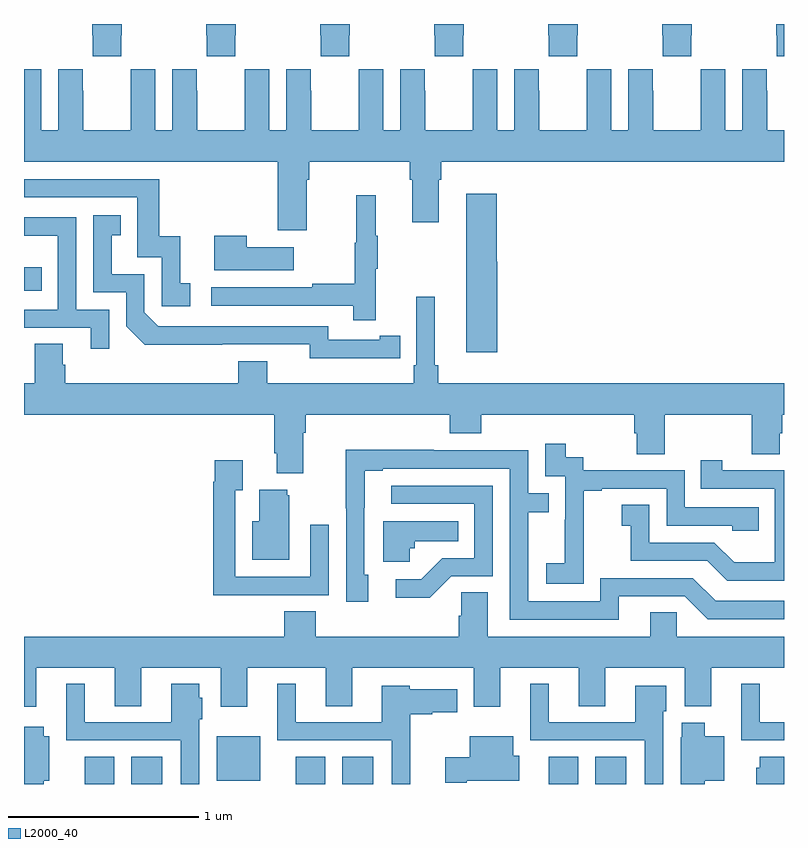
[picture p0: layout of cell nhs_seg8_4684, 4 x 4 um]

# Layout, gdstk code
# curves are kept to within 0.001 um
import gdstk
lib = gdstk.Library(unit=1e-6, precision=1e-09)
def R(c, l, rs):  # rectangles x0, y0, x1, y1
    for r in rs: c.add(gdstk.rectangle(r[:2], r[2:], *l))
def P(c, l, *ps):  # polygons
    for p in ps: c.add(gdstk.Polygon(p, *l))
L2000_40 = (2000, 40)

nhs_seg8_4684 = lib.new_cell('nhs_seg8_4684')
R(nhs_seg8_4684, L2000_40, [(395.321,1103.9,395.476,1104.044), (395.564,1103.9,395.728,1104.044), (396.431,1103.9,396.586,1104.044), (396.674,1103.9,396.838,1104.044), (397.763,1103.9,397.918,1104.044), (398.006,1103.9,398.17,1104.044), (396.014,1103.918,396.244,1104.151), (395,1106.496,395.093,1106.619)])
P(nhs_seg8_4684, L2000_40, [(396.111,1107.841),(396.114,1107.841),(396.114,1107.9),(395.959,1107.9),(395.959,1107.841),(395.961,1107.841),(395.961,1107.729),(396.111,1107.729)],
  [(396.711,1107.841),(396.714,1107.841),(396.714,1107.9),(396.559,1107.9),(396.559,1107.841),(396.561,1107.841),(396.561,1107.729),(396.711,1107.729)],
  [(397.311,1107.841),(397.314,1107.841),(397.314,1107.9),(397.159,1107.9),(397.159,1107.841),(397.161,1107.841),(397.161,1107.729),(397.311,1107.729)],
  [(397.911,1107.841),(397.914,1107.841),(397.914,1107.9),(397.759,1107.9),(397.759,1107.841),(397.761,1107.841),(397.761,1107.729),(397.911,1107.729)],
  [(398.511,1107.841),(398.514,1107.841),(398.514,1107.9),(398.359,1107.9),(398.359,1107.841),(398.361,1107.841),(398.361,1107.729),(398.511,1107.729)],
  [(399,1107.9),(398.959,1107.9),(398.959,1107.841),(398.961,1107.841),(398.961,1107.729),(399,1107.729)],
  [(395.511,1107.841),(395.514,1107.841),(395.514,1107.9),(395.359,1107.9),(395.359,1107.841),(395.361,1107.841),(395.361,1107.729),(395.511,1107.729)],
  [(396.98,1107.661),(396.98,1107.34),(396.892,1107.34),(396.892,1107.661),(396.762,1107.661),(396.762,1107.548),(396.761,1107.548),(396.761,1107.34),(396.511,1107.34),(396.511,1107.548),(396.51,1107.548),(396.51,1107.661),(396.38,1107.661),(396.38,1107.34),(396.292,1107.34),(396.292,1107.661),(396.162,1107.661),(396.162,1107.548),(396.161,1107.548),(396.161,1107.34),(395.911,1107.34),(395.911,1107.548),(395.91,1107.548),(395.91,1107.661),(395.78,1107.661),(395.78,1107.34),(395.692,1107.34),(395.692,1107.661),(395.562,1107.661),(395.562,1107.548),(395.561,1107.548),(395.561,1107.34),(395.311,1107.34),(395.311,1107.548),(395.31,1107.548),(395.31,1107.661),(395.18,1107.661),(395.18,1107.34),(395.092,1107.34),(395.092,1107.661),(395,1107.661),(395,1107.176),(396.335,1107.176),(396.335,1106.814),(396.487,1106.814),(396.487,1107.08),(396.5,1107.08),(396.5,1107.176),(397.031,1107.176),(397.031,1107.08),(397.043,1107.08),(397.043,1106.856),(397.183,1106.856),(397.183,1107.08),(397.196,1107.08),(397.196,1107.176),(399,1107.176),(399,1107.34),(398.911,1107.34),(398.911,1107.548),(398.91,1107.548),(398.91,1107.661),(398.78,1107.661),(398.78,1107.34),(398.692,1107.34),(398.692,1107.661),(398.562,1107.661),(398.562,1107.548),(398.561,1107.548),(398.561,1107.34),(398.311,1107.34),(398.311,1107.548),(398.31,1107.548),(398.31,1107.661),(398.18,1107.661),(398.18,1107.34),(398.092,1107.34),(398.092,1107.661),(397.962,1107.661),(397.962,1107.548),(397.961,1107.548),(397.961,1107.34),(397.711,1107.34),(397.711,1107.548),(397.71,1107.548),(397.71,1107.661),(397.58,1107.661),(397.58,1107.34),(397.492,1107.34),(397.492,1107.661),(397.362,1107.661),(397.362,1107.548),(397.361,1107.548),(397.361,1107.34),(397.111,1107.34),(397.111,1107.548),(397.11,1107.548),(397.11,1107.661)],
  [(395.875,1106.535),(395.822,1106.535),(395.822,1106.782),(395.711,1106.782),(395.711,1107.084),(395,1107.084),(395,1106.988),(395.595,1106.988),(395.595,1106.673),(395.724,1106.673),(395.724,1106.415),(395.875,1106.415)],
  [(397.492,1106.649),(397.487,1106.649),(397.487,1107.007),(397.328,1107.007),(397.328,1106.172),(397.492,1106.172)],
  [(396.851,1106.611),(396.862,1106.611),(396.862,1106.785),(396.851,1106.785),(396.851,1106.998),(396.748,1106.998),(396.748,1106.748),(396.741,1106.748),(396.741,1106.534),(396.517,1106.534),(396.517,1106.514),(395.985,1106.514),(395.985,1106.418),(396.733,1106.418),(396.733,1106.34),(396.851,1106.34)],
  [(396.872,1106.142),(396.98,1106.142),(396.98,1106.258),(396.872,1106.258),(396.872,1106.238),(396.6,1106.238),(396.6,1106.31),(395.706,1106.31),(395.634,1106.382),(395.634,1106.583),(395.461,1106.583),(395.461,1106.787),(395.51,1106.787),(395.51,1106.893),(395.364,1106.893),(395.364,1106.487),(395.538,1106.487),(395.538,1106.31),(395.636,1106.213),(396.504,1106.214),(396.504,1106.141)],
  [(395.448,1106.397),(395.274,1106.397),(395.274,1106.883),(395,1106.883),(395,1106.786),(395.178,1106.786),(395.178,1106.397),(395,1106.397),(395,1106.301),(395.351,1106.301),(395.351,1106.19),(395.448,1106.19)],
  [(396.421,1106.725),(396.173,1106.725),(396.173,1106.785),(396.002,1106.785),(396.002,1106.603),(396.421,1106.603)],
  [(396.469,1105.748),(396.482,1105.748),(396.482,1105.844),(397.241,1105.844),(397.241,1105.745),(397.406,1105.745),(397.406,1105.844),(398.213,1105.844),(398.213,1105.746),(398.225,1105.746),(398.225,1105.636),(398.373,1105.636),(398.373,1105.844),(398.83,1105.844),(398.83,1105.636),(398.977,1105.636),(398.977,1105.746),(398.99,1105.746),(398.99,1105.844),(399,1105.844),(399,1106.008),(397.181,1106.008),(397.181,1106.104),(397.162,1106.104),(397.162,1106.464),(397.065,1106.464),(397.065,1106.104),(397.052,1106.104),(397.052,1106.008),(396.28,1106.008),(396.28,1106.125),(396.128,1106.125),(396.128,1106.008),(395.216,1106.008),(395.216,1106.106),(395.203,1106.106),(395.203,1106.216),(395.056,1106.216),(395.056,1106.008),(395,1106.008),(395,1105.844),(396.317,1105.844),(396.317,1105.642),(396.329,1105.642),(396.329,1105.535),(396.469,1105.535)],
  [(397.947,1105.159),(397.946,1105.159),(397.946,1105.443),(398.041,1105.443),(398.041,1105.455),(398.382,1105.455),(398.382,1105.26),(398.727,1105.26),(398.727,1105.233),(398.867,1105.233),(398.867,1105.356),(398.478,1105.356),(398.478,1105.551),(397.944,1105.551),(397.944,1105.62),(397.852,1105.62),(397.852,1105.69),(397.743,1105.69),(397.743,1105.521),(397.848,1105.521),(397.848,1105.292),(397.847,1105.292),(397.847,1105.063),(397.749,1105.063),(397.749,1104.953),(397.947,1104.953)],
  [(398.131,1104.888),(398.478,1104.888),(398.598,1104.768),(399,1104.768),(399,1104.864),(398.64,1104.864),(398.52,1104.984),(398.034,1104.984),(398.034,1104.861),(397.653,1104.861),(397.653,1105.33),(397.763,1105.33),(397.763,1105.431),(397.653,1105.431),(397.653,1105.656),(397.157,1105.656),(397.157,1105.658),(396.694,1105.658),(396.694,1105.351),(396.696,1105.351),(396.696,1104.858),(396.811,1104.858),(396.811,1105.002),(396.792,1105.002),(396.793,1105.548),(396.889,1105.548),(396.889,1105.56),(397.557,1105.56),(397.557,1104.765),(398.131,1104.765)],
  [(396.287,1104.894),(396.603,1104.894),(396.603,1105.264),(396.507,1105.264),(396.507,1104.99),(396.111,1104.99),(396.111,1105.447),(396.151,1105.447),(396.151,1105.603),(396.003,1105.603),(396.003,1105.49),(395.995,1105.49),(395.995,1104.893),(396.287,1104.893)],
  [(399,1105.551),(398.674,1105.551),(398.674,1105.603),(398.563,1105.603),(398.563,1105.455),(398.952,1105.455),(398.952,1105.066),(398.738,1105.066),(398.634,1105.17),(398.292,1105.17),(398.292,1105.369),(398.145,1105.369),(398.145,1105.259),(398.194,1105.259),(398.194,1105.074),(398.597,1105.074),(398.702,1104.969),(399,1104.969)],
  [(397.248,1104.993),(397.467,1104.993),(397.467,1105.47),(396.933,1105.47),(396.933,1105.374),(397.371,1105.374),(397.371,1105.089),(397.202,1105.089),(397.091,1104.978),(396.957,1104.978),(396.957,1104.881),(397.135,1104.881)],
  [(396.397,1105.419),(396.386,1105.419),(396.386,1105.45),(396.239,1105.45),(396.239,1105.282),(396.2,1105.282),(396.2,1105.079),(396.397,1105.079)],
  [(397.029,1105.14),(397.056,1105.14),(397.056,1105.178),(397.286,1105.178),(397.286,1105.282),(396.89,1105.282),(396.89,1105.07),(397.029,1105.07)],
  [(395,1104.306),(395.065,1104.306),(395.065,1104.512),(395.477,1104.512),(395.477,1104.31),(395.617,1104.31),(395.617,1104.512),(396.035,1104.512),(396.035,1104.306),(396.175,1104.306),(396.175,1104.512),(396.587,1104.512),(396.587,1104.31),(396.727,1104.31),(396.727,1104.512),(397.367,1104.512),(397.367,1104.306),(397.507,1104.306),(397.507,1104.512),(397.919,1104.512),(397.919,1104.31),(398.059,1104.31),(398.059,1104.512),(398.477,1104.512),(398.477,1104.308),(398.617,1104.308),(398.617,1104.512),(399,1104.512),(399,1104.676),(398.436,1104.676),(398.436,1104.803),(398.297,1104.803),(398.297,1104.676),(397.441,1104.676),(397.441,1104.908),(397.302,1104.908),(397.302,1104.785),(397.289,1104.785),(397.289,1104.676),(396.536,1104.676),(396.536,1104.809),(396.371,1104.809),(396.371,1104.676),(395,1104.676)],
  [(398.364,1104.282),(398.38,1104.282),(398.38,1104.418),(398.216,1104.418),(398.216,1104.225),(397.762,1104.225),(397.762,1104.427),(397.664,1104.427),(397.664,1104.129),(398.268,1104.129),(398.268,1103.9),(398.364,1103.9)],
  [(397.034,1104.266),(397.148,1104.266),(397.148,1104.278),(397.279,1104.278),(397.279,1104.4),(397.029,1104.4),(397.029,1104.418),(396.884,1104.418),(396.884,1104.225),(396.43,1104.225),(396.43,1104.427),(396.332,1104.427),(396.332,1104.129),(396.936,1104.129),(396.936,1103.9),(397.034,1103.9)],
  [(395.922,1104.24),(395.938,1104.24),(395.938,1104.354),(395.923,1104.354),(395.923,1104.427),(395.774,1104.427),(395.774,1104.225),(395.32,1104.225),(395.32,1104.427),(395.222,1104.427),(395.222,1104.129),(395.826,1104.129),(395.826,1103.9),(395.922,1103.9)],
  [(399,1104.225),(398.872,1104.225),(398.872,1104.427),(398.774,1104.427),(398.774,1104.129),(399,1104.129)],
  [(398.584,1103.918),(398.686,1103.918),(398.686,1104.151),(398.584,1104.151),(398.584,1104.223),(398.462,1104.223),(398.462,1104.147),(398.456,1104.147),(398.456,1103.9),(398.584,1103.9)],
  [(395.104,1103.918),(395.134,1103.918),(395.134,1104.151),(395.104,1104.151),(395.104,1104.202),(395,1104.202),(395,1103.9),(395.104,1103.9)],
  [(397.33,1103.918),(397.606,1103.918),(397.606,1104.048),(397.576,1104.048),(397.576,1104.151),(397.346,1104.151),(397.346,1104.04),(397.218,1104.04),(397.218,1103.906),(397.33,1103.906)],
  [(399,1104.044),(398.873,1104.044),(398.873,1103.985),(398.855,1103.985),(398.855,1103.9),(399,1103.9)])

lib.write_gds('nhs_seg8_4684.gds')
